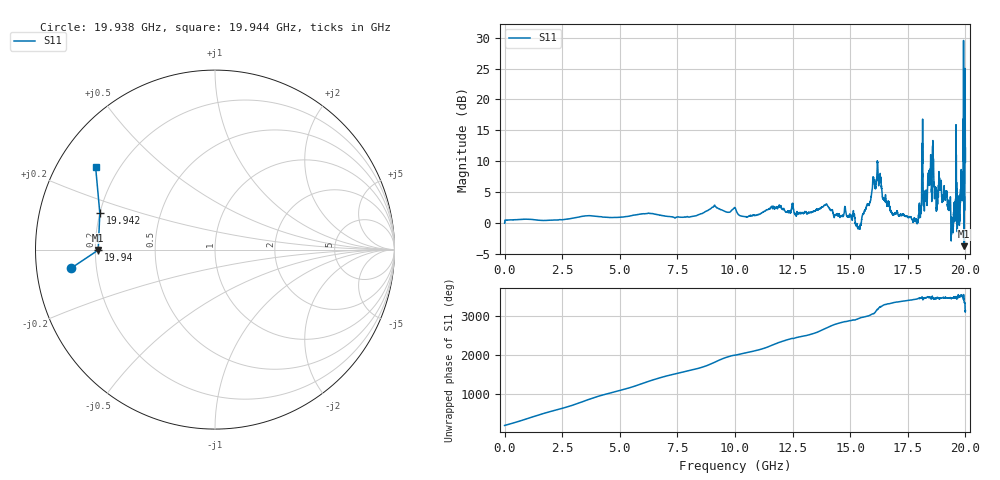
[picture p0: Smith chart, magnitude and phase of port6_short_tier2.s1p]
! Created with skrf 1.8.0 (http://scikit-rf.org).
# GHz S RI R 50.0
!freq ReS11 ImS11
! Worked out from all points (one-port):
!   10001 points, 1 MHz to 20 GHz, reference 50 ohm
!   lowest |S11| = -3.7 dB at 19.94 GHz (marker M1), VSWR 4.73, Z = 10.6 - j0.101 ohm
!   |S11| at or under -10 dB: nowhere
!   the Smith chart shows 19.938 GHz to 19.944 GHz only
!   S11 on the Smith chart (normalised r, x): 19.938 GHz: 0.10, -0.06; 19.94 GHz: 0.21, -0.00; 19.942 GHz: 0.20, +0.15; 19.944 GHz: 0.11, +0.31
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0.001  -1 0.000736
0.9769512  1.07 -0.1099
2.500875  -0.1444 -1.056
3.436828  0.0981 1.134
4.320784  -0.2556 -1.087
5.00075  1.113 0.0403
5.938703  -1.181 0.1001
6.448678  0.1793 -1.178
7.500625  0.0691 1.121
8.290586  -1.098 -0.3248
9.088546  1.37 0.1424
10.0005  -1.282 -0.3775
11.14644  1.196 -0.1476
11.61242  -0.0846 1.362
12.50038  -0.0194 -1.422
13.28834  1.181 0.2843
13.9743  -1.427 -0.0567
15.00025  1.135 0.16
15.9742  -2.076 -0.2149
16.27619  2.189 -0.1318
16.57817  0.4821 1.383
17.50013  -1.095 0.1983
18.49808  -1.971 -2.25
19.938  -0.8043 -0.1053
19.94  -0.6507 -0.00274
19.942  -0.6417 0.204
19.944  -0.6655 0.4623
20  -0.376 -4.026
